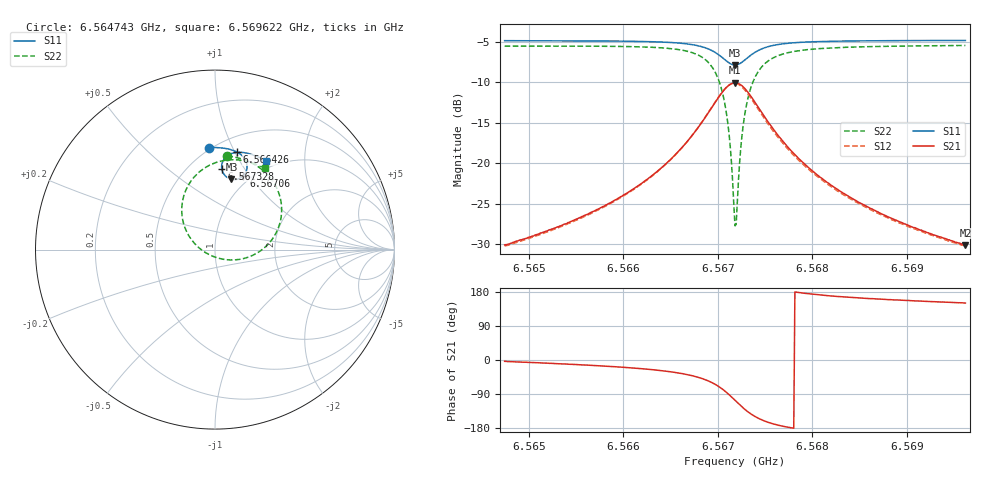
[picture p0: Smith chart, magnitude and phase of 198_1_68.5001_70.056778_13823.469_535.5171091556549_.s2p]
#  HZ  S  RI  R  50.00
! Rohde & Schwarz Vector Network Analyzer
! Rohde-Schwarz,ZNB20-2Port,1311601062101988,3.16
! Created: UTC 3/20/2024, 5:12:37 PM
! freq[Hz]  re:S11  im:S11  re:S21  im:S21  re:S12  im:S12  re:S22  im:S22
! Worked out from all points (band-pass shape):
!   401 points, 6.564743 GHz to 6.569622 GHz, reference 50 ohm
!   highest |S21| = -10.09 dB at 6.567182 GHz (marker M1); lowest = -30.1 dB at 6.569622 GHz (marker M2)
!   |S21| within 3 dB of the highest: 6.56694 GHz to 6.567427 GHz (487.4 kHz wide, 0.00742 % of centre)
!   lowest |S11| = -7.9 dB at 6.567182 GHz (marker M3), VSWR 2.35, Z = 42.8 + j40 ohm
!   |S11| at or under -10 dB: nowhere
!   |S22| runs from -27.7 to -5.5 dB; largest |S21 - S12| = 0.016
!   S11 on the Smith chart (normalised r, x): 6.564743 GHz: 0.49, +0.82; 6.566426 GHz: 0.65, +1.02; 6.56706 GHz: 0.92, +0.94; 6.567328 GHz: 0.70, +0.80; 6.569622 GHz: 0.89, +1.30
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6.5647427e9  -0.0329 0.5681  0.0312 -0.00189  0.0307 -0.00253  0.0689 0.5219
6.5655599e9  0.0357 0.5665  0.0455 -0.0103  0.0445 -0.0109  0.151 0.5043
6.5663771e9  0.1161 0.5466  0.0807 -0.0418  0.0793 -0.0427  0.271 0.4383
6.5664259e9  0.1219 0.5439  0.0842 -0.0462  0.0829 -0.0471  0.2811 0.4293
6.566682e9  0.1541 0.5204  0.1067 -0.086  0.105 -0.0877  0.3399 0.3512
6.566865e9  0.1754 0.4842  0.1179 -0.1495  0.1148 -0.1528  0.3714 0.2287
6.5669748e9  0.1769 0.4468  0.1021 -0.2149  0.0961 -0.2193  0.3457 0.1041
6.5670602e9  0.1587 0.412  0.0534 -0.2743  0.043 -0.2774  0.255 -0.00576
6.5670967e9  0.1429 0.3995  0.018 -0.2943  0.00551 -0.2956  0.189 -0.0408
6.5671211e9  0.1298 0.3937  -0.0102 -0.303  -0.0236 -0.3025  0.1369 -0.0544
6.5671699e9  0.0997 0.3904  -0.0728 -0.3038  -0.0867 -0.2983  0.0242 -0.0491
6.5671821e9  0.0918 0.3917  -0.0883 -0.3001  -0.1022 -0.2934  -0.00321 -0.0408
6.5671943e9  0.0844 0.3938  -0.1036 -0.295  -0.117 -0.2869  -0.0297 -0.0294
6.5672065e9  0.0772 0.3968  -0.1182 -0.2882  -0.1308 -0.2791  -0.0547 -0.0157
6.5672431e9  0.0585 0.4098  -0.1561 -0.2607  -0.166 -0.2488  -0.1176 0.0383
6.5672675e9  0.0492 0.421  -0.1753 -0.2382  -0.1829 -0.2253  -0.1478 0.0805
6.5673285e9  0.0376 0.4515  -0.2015 -0.1781  -0.2039 -0.1652  -0.1837 0.1896
6.5674261e9  0.0439 0.4922  -0.1983 -0.0996  -0.1961 -0.0898  -0.1645 0.326
6.5675724e9  0.0719 0.5248  -0.1624 -0.0359  -0.1587 -0.0305  -0.0876 0.4324
6.5679993e9  0.14 0.5423  -0.0892 0.00986  -0.0869 0.0111  0.071 0.4992
6.5688165e9  0.2208 0.5243  -0.0433 0.0163  -0.0423 0.0166  0.2036 0.4844
6.5696215e9  0.2823 0.4961  -0.0271 0.0155  -0.0265 0.0155  0.2797 0.4519
